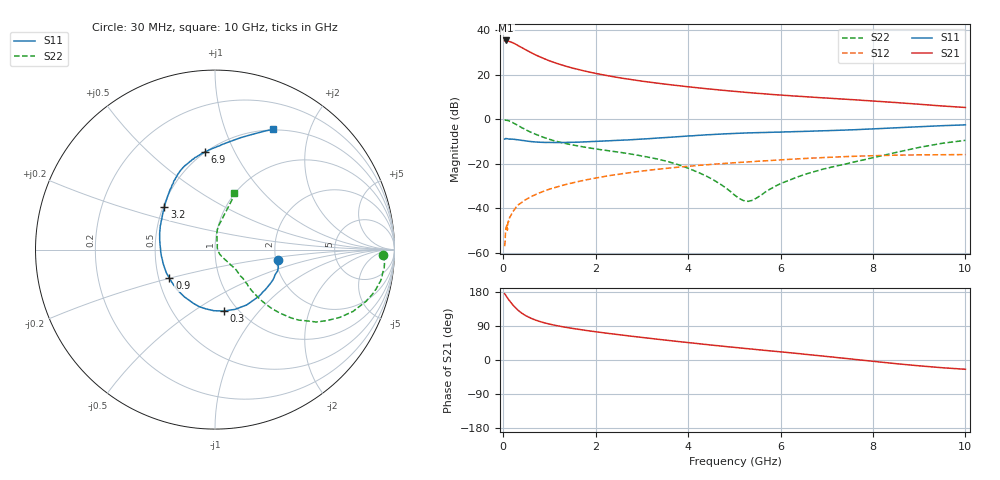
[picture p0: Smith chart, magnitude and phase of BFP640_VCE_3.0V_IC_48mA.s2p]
! Infineon Technologies  Discrete & RF Semiconductors
! BFP640
! VCE =  3.0 V,  IC =  48 mA
! Common Emitter S-Parameters:  Apr 2013
# GHz  S  MA  R  50
!  f  S11  S21  S12  S22
! GHz  MAG  ANG  MAG  ANG  MAG  ANG  MAG  ANG
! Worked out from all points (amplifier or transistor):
!   99 points, 30 MHz to 10 GHz, reference 50 ohm
!   highest |S21| = 35.4 dB at 60 MHz (marker M1)
!   |S21| within 3 dB of that: start of sweep to 383 MHz
!   unconditionally stable (mu >= 1): 1.572 GHz to end of sweep
!   at 350 MHz: K = 0.50, MSG = 35.4 dB, |S12| = -38.1 dB
!   at 3.5 GHz: K = 1.07, MAG = 17.3 dB, |S12| = -22.2 dB
!   at 10 GHz: K = 1.07, MAG = 9.0 dB, |S12| = -15.9 dB
!   S11 on the Smith chart (normalised r, x): 30 MHz: 2.06, -0.27; 300 MHz: 0.86, -0.67; 900 MHz: 0.57, -0.20; 3.2 GHz: 0.51, +0.28; 6.9 GHz: 0.50, +0.77; 10 GHz: 0.49, +1.48
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0.03  0.356 -9.4  57.8 174.9  0.0014 101.3  0.9392 -1.8
0.06  0.3684 -18.8  58.69 169.6  0.0037 103.1  0.9481 -6.3
0.08  0.3645 -25.8  58.26 165.9  0.0043 91.7  0.9426 -9.5
0.12  0.3585 -38.6  56.23 159.0  0.005 82.0  0.916 -15.1
0.2  0.3554 -60.2  52.34 146.5  0.0081 73.5  0.8421 -24.2
0.25  0.351 -71.7  49.59 139.7  0.0095 71.3  0.79 -28.6
0.3  0.3458 -82.0  46.41 133.6  0.0114 71.2  0.7381 -32.4
0.35  0.3405 -91.1  43.23 128.4  0.0124 69.8  0.6929 -35.6
0.45  0.3296 -105.6  37.97 119.7  0.0149 67.2  0.61 -40.1
0.6  0.3136 -123.1  31.39 110.2  0.0181 65.8  0.5077 -44.3
0.7  0.3075 -132.7  27.77 105.4  0.0202 65.5  0.4583 -46.0
0.9  0.3 -147.7  22.57 97.8  0.0245 64.9  0.3817 -47.7
1.2  0.2991 -164.8  17.36 89.7  0.0307 64.1  0.3082 -48.2
1.7  0.3068 175.5  12.5 79.7  0.0413 61.6  0.2413 -46.4
2.4  0.3318 156.8  8.919 68.3  0.0559 56.6  0.1875 -45.2
3.2  0.3675 140.2  6.717 56.8  0.0722 49.9  0.1356 -44.0
3.4  0.3801 136.5  6.317 54.0  0.0759 48.1  0.1221 -44.3
5.1  0.4822 113.2  4.131 32.1  0.1064 33.1  0.0167 -18.6
6.7  0.5393 98.1  3.115 13.0  0.1335 18.8  0.0652 80.5
6.9  0.5474 95.9  3.021 10.6  0.1366 16.9  0.0745 81.6
8.5  0.6397 77.1  2.36 -9.7  0.1553 0.7  0.1787 76.6
10  0.7449 64.2  1.829 -24.5  0.16 -11.2  0.3339 71.1
